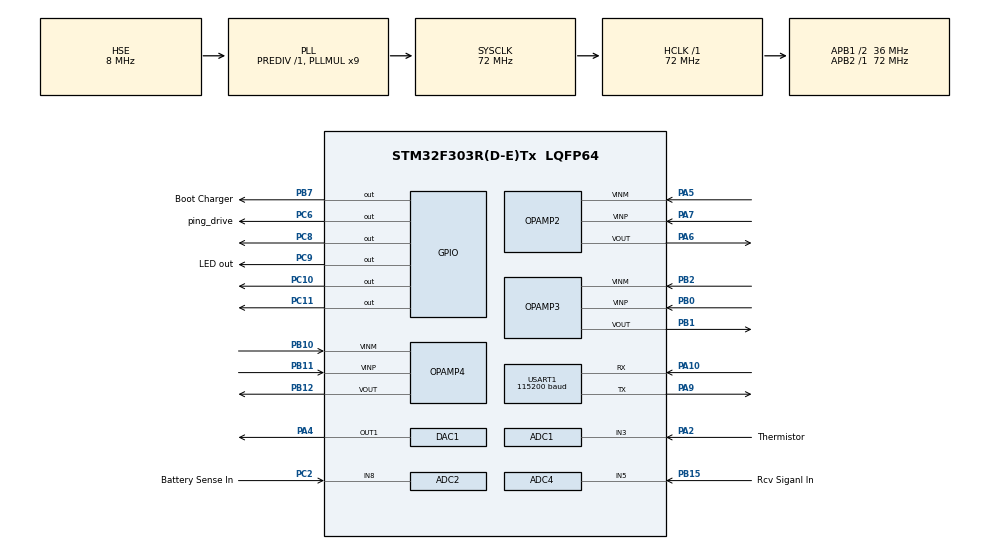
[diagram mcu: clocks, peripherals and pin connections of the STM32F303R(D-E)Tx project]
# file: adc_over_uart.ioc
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ADC1.Channel-0\#ChannelRegularConversion=ADC_CHANNEL_TEMPSENSOR
ADC1.ClockPrescaler=ADC_CLOCK_SYNC_PCLK_DIV2
ADC1.ContinuousConvMode=DISABLE
ADC1.DMAContinuousRequests=DISABLE
ADC1.DataAlign=ADC_DATAALIGN_RIGHT
ADC1.DiscontinuousConvMode=DISABLE
ADC1.EOCSelection=ADC_EOC_SINGLE_CONV
ADC1.EnableAnalogWatchDog1=false
ADC1.EnableAnalogWatchDog2=false
ADC1.EnableAnalogWatchDog3=false
ADC1.EnableInjectedConversion=ENABLE
ADC1.EnableRegularConversion=ENABLE
ADC1.ExternalTrigConv=ADC_SOFTWARE_START
ADC1.ExternalTrigConvEdge=ADC_EXTERNALTRIGCONVEDGE_NONE
ADC1.InjNumberOfConversion=0
ADC1.LowPowerAutoWait=DISABLE
ADC1.NbrOfConversion=1
ADC1.NbrOfConversionFlag=1
ADC1.Offset-0\#ChannelRegularConversion=0
ADC1.OffsetNumber-0\#ChannelRegularConversion=ADC_OFFSET_NONE
ADC1.Overrun=ADC_OVR_DATA_OVERWRITTEN
ADC1.Rank-0\#ChannelRegularConversion=1
ADC1.Resolution=ADC_RESOLUTION_12B
ADC1.SamplingTime-0\#ChannelRegularConversion=ADC_SAMPLETIME_181CYCLES_5
ADC1.ScanConvMode=ADC_SCAN_DISABLE
ADC1.master=1
ADC2.Channel-12\#ChannelRegularConversion=ADC_CHANNEL_8
ADC2.ClockPrescaler=ADC_CLOCK_SYNC_PCLK_DIV2
ADC2.ContinuousConvMode=DISABLE
ADC2.DMAContinuousRequests=DISABLE
ADC2.DataAlign=ADC_DATAALIGN_RIGHT
ADC2.DiscontinuousConvMode=DISABLE
ADC2.EOCSelection=ADC_EOC_SINGLE_CONV
ADC2.EnableAnalogWatchDog1=false
ADC2.EnableAnalogWatchDog2=false
ADC2.EnableAnalogWatchDog3=false
ADC2.EnableInjectedConversion=ENABLE
ADC2.EnableRegularConversion=ENABLE
ADC2.ExternalTrigConv=ADC_SOFTWARE_START
ADC2.ExternalTrigConvEdge=ADC_EXTERNALTRIGCONVEDGE_NONE
ADC2.InjNumberOfConversion=0
ADC2.LowPowerAutoWait=DISABLE
ADC2.NbrOfConversion=1
ADC2.NbrOfConversionFlag=1
ADC2.Offset-12\#ChannelRegularConversion=0
ADC2.OffsetNumber-12\#ChannelRegularConversion=ADC_OFFSET_NONE
ADC2.Overrun=ADC_OVR_DATA_OVERWRITTEN
ADC2.Rank-12\#ChannelRegularConversion=1
ADC2.Resolution=ADC_RESOLUTION_12B
ADC2.SamplingTime-12\#ChannelRegularConversion=ADC_SAMPLETIME_181CYCLES_5
ADC2.ScanConvMode=ADC_SCAN_DISABLE
ADC4.Channel-2\#ChannelRegularConversion=ADC_CHANNEL_5
ADC4.ClockPrescaler=ADC_CLOCK_SYNC_PCLK_DIV2
ADC4.ContinuousConvMode=DISABLE
ADC4.DMAContinuousRequests=ENABLE
ADC4.EnableRegularConversion=ENABLE
ADC4.ExternalTrigConv=ADC_EXTERNALTRIGCONV_T3_TRGO
ADC4.NbrOfConversionFlag=1
ADC4.Offset-2\#ChannelRegularConversion=0
ADC4.OffsetNumber-2\#ChannelRegularConversion=ADC_OFFSET_NONE
ADC4.Rank-2\#ChannelRegularConversion=1
ADC4.SamplingTime-2\#ChannelRegularConversion=ADC_SAMPLETIME_1CYCLE_5
ADC4.SamplingTimeOPAMP-2\#ChannelRegularConversion=ADC_SAMPLETIME_19CYCLES_5
Dma.ADC4.0.Direction=DMA_PERIPH_TO_MEMORY
Dma.ADC4.0.Instance=DMA2_Channel2
Dma.ADC4.0.MemDataAlignment=DMA_MDATAALIGN_HALFWORD
Dma.ADC4.0.MemInc=DMA_MINC_ENABLE
Dma.ADC4.0.Mode=DMA_CIRCULAR
Dma.ADC4.0.PeriphDataAlignment=DMA_PDATAALIGN_HALFWORD
Dma.ADC4.0.PeriphInc=DMA_PINC_DISABLE
Dma.ADC4.0.Priority=DMA_PRIORITY_VERY_HIGH
Dma.Request0=ADC4
Dma.Request1=TIM2_UP
Dma.TIM2_UP.1.Direction=DMA_MEMORY_TO_PERIPH
Dma.TIM2_UP.1.Instance=DMA1_Channel2
Dma.TIM2_UP.1.MemDataAlignment=DMA_MDATAALIGN_WORD
Dma.TIM2_UP.1.MemInc=DMA_MINC_ENABLE
Dma.TIM2_UP.1.Mode=DMA_CIRCULAR
Dma.TIM2_UP.1.PeriphDataAlignment=DMA_PDATAALIGN_WORD
Dma.TIM2_UP.1.PeriphInc=DMA_PINC_DISABLE
Dma.TIM2_UP.1.Priority=DMA_PRIORITY_HIGH
Mcu.Family=STM32F3
Mcu.Name=STM32F303R(D-E)Tx
Mcu.Package=LQFP64
NVIC.DMA1_Channel2_IRQn=true\:0\:0\:false\:false\:true\:false\:true\:true
NVIC.DMA2_Channel2_IRQn=true\:0\:0\:false\:false\:true\:true\:true\:true
NVIC.PriorityGroup=NVIC_PRIORITYGROUP_2
NVIC.USART1_IRQn=true\:3\:3\:true\:false\:true\:true\:true\:true
OPAMP2.PgaGain=OPAMP_PGA_GAIN_2
OPAMP3.PgaGain=OPAMP_PGA_GAIN_2
PA10.Mode=Asynchronous
PA10.Signal=USART1_RX
PA13.GPIO_Label=TMS
PA13.Signal=SYS_JTMS-SWDIO
PA14.GPIO_Label=TCK
PA14.Signal=SYS_JTCK-SWCLK
PA2.GPIO_Label=Thermistor
PA2.Mode=IN3-Single-Ended
PA2.Signal=ADC1_IN3
PA4.Signal=COMP_DAC11_group
PA5.Mode=PGA Connected
PA5.Signal=OPAMP2_VINM
PA6.Mode=PGA Connected
PA6.Signal=OPAMP2_VOUT
PA7.Mode=PGA Connected
PA7.Signal=OPAMP2_VINP
PA9.Mode=Asynchronous
PA9.Signal=USART1_TX
PB0.Mode=PGA Connected
PB0.Signal=OPAMP3_VINP
PB1.Mode=PGA Connected
PB1.Signal=OPAMP3_VOUT
PB10.Mode=Standalone
PB10.Signal=OPAMP4_VINM
PB11.Mode=Standalone
PB11.Signal=OPAMP4_VINP
PB12.Mode=Standalone
PB12.Signal=OPAMP4_VOUT
PB15.GPIO_Label=Rcv Siganl In
PB15.Mode=IN5-Single-Ended
PB15.Signal=ADC4_IN5
PB2.Mode=PGA Connected
PB2.Signal=OPAMP3_VINM
PB3.GPIO_Label=SWO
PB3.Signal=SYS_JTDO-TRACESWO
PB7.GPIO_Label=Boot Charger
PB7.Signal=GPIO_Output
PC10.Signal=GPIO_Output
PC11.Signal=GPIO_Output
PC14-OSC32_IN.Signal=RCC_OSC32_IN
PC15-OSC32_OUT.Signal=RCC_OSC32_OUT
PC2.GPIO_Label=Battery Sense In
PC2.Signal=ADCx_IN8
PC6.GPIO_Label=ping_drive
PC6.Signal=GPIO_Output
PC8.Signal=GPIO_Output
PC9.GPIO_Label=LED out
PC9.GPIO_ModeDefaultOutputPP=GPIO_MODE_OUTPUT_PP
PC9.PinState=GPIO_PIN_RESET
PC9.Signal=GPIO_Output
PF0-OSC_IN.Mode=HSE-External-Oscillator
PF0-OSC_IN.Signal=RCC_OSC_IN
PF1-OSC_OUT.Mode=HSE-External-Oscillator
PF1-OSC_OUT.Signal=RCC_OSC_OUT
ProjectManager.HeapSize=0x1200
ProjectManager.StackSize=0x1800
ProjectManager.TargetToolchain=STM32CubeIDE
RCC.ADC34PRES=RCC_ADC34PLLCLK_DIV4
RCC.AHBFreq_Value=72000000
RCC.APB1CLKDivider=RCC_HCLK_DIV2
RCC.APB1Freq_Value=36000000
RCC.APB1TimFreq_Value=72000000
RCC.APB2Freq_Value=72000000
RCC.APB2TimFreq_Value=72000000
RCC.CortexFreq_Value=72000000
RCC.HCLKFreq_Value=72000000
RCC.HSE_VALUE=8000000
RCC.HSI_VALUE=8000000
RCC.LSE_VALUE=32768
RCC.PLLM=8
RCC.PLLMUL=RCC_PLL_MUL9
RCC.PLLN=336
RCC.PLLP=RCC_PLLP_DIV4
RCC.PLLQ=7
RCC.PLLSourceVirtual=RCC_PLLSOURCE_HSE
RCC.RCC_PLLsource_Clock_Source_FROM_HSE=RCC_HSE_PREDIV_DIV2
RCC.SYSCLKFreq_VALUE=72000000
RCC.SYSCLKSourceVirtual=RCC_SYSCLKSOURCE_PLLCLK
RCC.USBFreq_Value=72000000
SH.ADCx_IN8.0=ADC2_IN8,IN8-Single-Ended
SH.COMP_DAC11_group.0=DAC1_OUT1,DAC_OUT1
TIM2.AutoReloadPreload=TIM_AUTORELOAD_PRELOAD_ENABLE
TIM2.Period=312-1
TIM2.TIM_MasterOutputTrigger=TIM_TRGO_UPDATE
TIM3.AutoReloadPreload=TIM_AUTORELOAD_PRELOAD_ENABLE
TIM3.Period=52-1
TIM3.TIM_MasterOutputTrigger=TIM_TRGO_UPDATE
TIM4.Period=648
USART1.BaudRate=115200
USART1.DMADisableonRxErrorParam=ADVFEATURE_DMA_DISABLEONRXERROR
USART1.VirtualMode-Asynchronous=VM_ASYNC
USART1.WordLength=WORDLENGTH_8B
VP_ADC1_TempSens_Input.Mode=IN-TempSens
VP_TIM2_VS_ClockSourceINT.Mode=Internal
VP_TIM3_VS_ClockSourceINT.Mode=Internal
VP_TIM4_VS_ClockSourceINT.Mode=Internal
VP_TIM8_VS_ClockSourceINT.Mode=Internal
VP_TIM8_VS_OPM.Mode=OPM_bit
board=NUCLEO-F303RE

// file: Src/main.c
/* USER CODE BEGIN Header */
/**
  ******************************************************************************
  * @file           : main.c
  * @brief          : Main program body
  ******************************************************************************
  * @attention
  *
  * Copyright (c) 2024 STMicroelectronics.
  * All rights reserved.
  *
  * This software is licensed under terms that can be found in the LICENSE file
  * in the root directory of this software component.
  * If no LICENSE file comes with this software, it is provided AS-IS.
  *
  ******************************************************************************
  */
/* USER CODE END Header */
#include "main.h"

/* USER CODE BEGIN Includes */
#include "adc_over_uart.h"
#include "pga.h"
#include "cmd_rx.h"
#include "basic_pulse_stream.h"
#include "max_peak_detector.h"
#include "peak_detector_main.h"
#include "transponder.h"
#include "tof_master.h"
#include "slow_tx.h"
#include "ping_out.h"
#include "mode.h"
#include "test.h"

/* USER CODE END Includes */

ADC_HandleTypeDef hadc1;
ADC_HandleTypeDef hadc2;
ADC_HandleTypeDef hadc4;
DMA_HandleTypeDef hdma_adc4;

DAC_HandleTypeDef hdac1;

OPAMP_HandleTypeDef hopamp2;
OPAMP_HandleTypeDef hopamp3;
OPAMP_HandleTypeDef hopamp4;

TIM_HandleTypeDef htim2;
TIM_HandleTypeDef htim3;
TIM_HandleTypeDef htim4;
TIM_HandleTypeDef htim8;
DMA_HandleTypeDef hdma_tim2_up;

UART_HandleTypeDef huart1;

void SystemClock_Config(void);
static void MX_GPIO_Init(void);
static void MX_DMA_Init(void);
static void MX_TIM3_Init(void);
static void MX_OPAMP2_Init(void);
static void MX_OPAMP3_Init(void);
static void MX_OPAMP4_Init(void);
static void MX_TIM4_Init(void);
static void MX_ADC2_Init(void);
static void MX_TIM2_Init(void);
static void MX_DAC1_Init(void);
static void MX_USART1_UART_Init(void);
static void MX_ADC1_Init(void);
static void MX_TIM8_Init(void);
static void MX_ADC4_Init(void);

int main(void)
{

  /* MCU Configuration--------------------------------------------------------*/

  /* Reset of all peripherals, Initializes the Flash interface and the Systick. */
  HAL_Init();

  /* Configure the system clock */
  SystemClock_Config();

  /* Initialize all configured peripherals */
  MX_GPIO_Init();
  MX_DMA_Init();
  MX_TIM3_Init();
  MX_OPAMP2_Init();
  MX_OPAMP3_Init();
  MX_OPAMP4_Init();
  MX_TIM4_Init();
  MX_ADC2_Init();
  MX_TIM2_Init();
  MX_DAC1_Init();
  MX_USART1_UART_Init();
  MX_ADC1_Init();
  MX_TIM8_Init();
  MX_ADC4_Init();
  /* USER CODE BEGIN 2 */

  ///////////////// begin BR magic code //////////////////////////////
  // fixup and enable the bias control op amp
    {
  	  // CubeMX does not seem to be setting the correct input for op amp 4
  	  // need to override here
  	  unsigned int csr = (unsigned int) hopamp4.Instance->CSR;
  	  unsigned int vpsel_mask = 0xC;
  	  // VP_SEL = 00 (PD11)
  	  // VP_SEL = 01 (PB11)
  	  // VP_SEL = 10 (PA4)
  	  // VP_SEL = 11 (PB13)
  	  unsigned int wanted_vpsel = 0x4;
  	  if ((csr & vpsel_mask) != wanted_vpsel)
  	  {
  		  //printf("overriding HAL VPSEL for Opamp4. Was: 0x%08x\n", csr);
  		  csr &= ~vpsel_mask;	// reset VP_SEL bits
  		  csr |= wanted_vpsel;	// VP_SEL = 01 (PB11)
  	  }
  	  //printf(" \noverriding HAL VPSEL for Opamp4. Now: 0x%08x\n", csr);
  	  hopamp4.Instance->CSR = csr;
  	  hopamp4.Instance->CSR |= 1;	// enable op amp!
  	  //printf("op amp 4 CSR = 0x%08x\n", (unsigned int) hopamp4.Instance->CSR);
    }

    // enable the PGA op amps
    {
  //	  hopamp1.Instance->CSR |= 1;	// enable op amp!
  //	  printf("op amp 1 CSR = 0x%08x\n", (unsigned int) hopamp1.Instance->CSR);
  	  hopamp2.Instance->CSR |= 1;	// enable op amp!
  	  //printf("op amp 2 CSR = 0x%08x\n", (unsigned int) hopamp2.Instance->CSR);
  	  hopamp3.Instance->CSR |= 1;	// enable op amp!
  	  //printf("op amp 3 CSR = 0x%08x\n", (unsigned int) hopamp3.Instance->CSR);
    }

    // here we disable stuff we don't want to run during debug
    // i.e. stop timer2 incrementing when we are halted in the debugger
    // the default is that everything continues to run
    {
  	  DBGMCU->APB1FZ |= 1;	// stop timer 2 (HIRES_CLK)
    }

  //////////////// end BR magic code //////////////////////////

  /* USER CODE END 2 */

  /* Infinite loop */
  while (1)
  {

    /* USER CODE BEGIN 3 */
	  #if ADC_OVER_UART_MODE

	  //pgaTestC(&hopamp3);

	  adc_over_uart(&hadc4, &htim3, &huart1, &hopamp2, &hopamp3);

	  #elif BASIC_PULSE_STREAM_MODE
	  basic_pulse_stream_init(&hdma_tim2_up, &htim2);
	  basic_pulse_stream_main();

	  #elif BASIC_PEAK_DETECTOR_MODE

    peak_detector_main(&hadc4, &htim3, &huart1, &hopamp2, &hopamp3);

	#elif TRANSPONDER_MODE
    transponder_main(&hadc4, &htim3, &huart1, &hopamp2, &hopamp3,
    				 &hdma_tim2_up, &htim2);

	#elif SLOW_TX_MODE
    slow_tx_main(&huart1, &hdma_tim2_up, &htim2);

	#elif TIME_OF_FLIGHT_MODE

    tof_master_main(&hadc4, &htim3, &huart1, &hopamp2, &hopamp3,
    				&hdma_tim2_up, &htim2);

	  #endif
  }
  /* USER CODE END 3 */
}

void SystemClock_Config(void)
{
  RCC_OscInitTypeDef RCC_OscInitStruct = {0};
  RCC_ClkInitTypeDef RCC_ClkInitStruct = {0};
  RCC_PeriphCLKInitTypeDef PeriphClkInit = {0};

  /** Initializes the RCC Oscillators according to the specified parameters
  * in the RCC_OscInitTypeDef structure.
  */
  RCC_OscInitStruct.OscillatorType = RCC_OSCILLATORTYPE_HSE;
  RCC_OscInitStruct.HSEState = RCC_HSE_ON;
  RCC_OscInitStruct.HSIState = RCC_HSI_ON;
  RCC_OscInitStruct.PLL.PLLState = RCC_PLL_ON;
  RCC_OscInitStruct.PLL.PLLSource = RCC_PLLSOURCE_HSE;
  RCC_OscInitStruct.PLL.PLLMUL = RCC_PLL_MUL9;
  RCC_OscInitStruct.PLL.PREDIV = RCC_PREDIV_DIV1;
  if (HAL_RCC_OscConfig(&RCC_OscInitStruct) != HAL_OK)
  {
    Error_Handler();
  }

  /** Initializes the CPU, AHB and APB buses clocks
  */
  RCC_ClkInitStruct.ClockType = RCC_CLOCKTYPE_HCLK|RCC_CLOCKTYPE_SYSCLK
                              |RCC_CLOCKTYPE_PCLK1|RCC_CLOCKTYPE_PCLK2;
  RCC_ClkInitStruct.SYSCLKSource = RCC_SYSCLKSOURCE_PLLCLK;
  RCC_ClkInitStruct.AHBCLKDivider = RCC_SYSCLK_DIV1;
  RCC_ClkInitStruct.APB1CLKDivider = RCC_HCLK_DIV2;
  RCC_ClkInitStruct.APB2CLKDivider = RCC_HCLK_DIV1;

  if (HAL_RCC_ClockConfig(&RCC_ClkInitStruct, FLASH_LATENCY_2) != HAL_OK)
  {
    Error_Handler();
  }
  PeriphClkInit.PeriphClockSelection = RCC_PERIPHCLK_USART1|RCC_PERIPHCLK_TIM8
                              |RCC_PERIPHCLK_TIM2|RCC_PERIPHCLK_TIM34;
  PeriphClkInit.Usart1ClockSelection = RCC_USART1CLKSOURCE_PCLK2;
  PeriphClkInit.Tim8ClockSelection = RCC_TIM8CLK_HCLK;
  PeriphClkInit.Tim2ClockSelection = RCC_TIM2CLK_HCLK;
  PeriphClkInit.Tim34ClockSelection = RCC_TIM34CLK_HCLK;
  if (HAL_RCCEx_PeriphCLKConfig(&PeriphClkInit) != HAL_OK)
  {
    Error_Handler();
  }
}

static void MX_ADC1_Init(void)
{

  ADC_MultiModeTypeDef multimode = {0};
  ADC_ChannelConfTypeDef sConfig = {0};

  /** Common config
  */
  hadc1.Instance = ADC1;
  hadc1.Init.ClockPrescaler = ADC_CLOCK_SYNC_PCLK_DIV2;
  hadc1.Init.Resolution = ADC_RESOLUTION_12B;
  hadc1.Init.ScanConvMode = ADC_SCAN_DISABLE;
  hadc1.Init.ContinuousConvMode = DISABLE;
  hadc1.Init.DiscontinuousConvMode = DISABLE;
  hadc1.Init.ExternalTrigConvEdge = ADC_EXTERNALTRIGCONVEDGE_NONE;
  hadc1.Init.ExternalTrigConv = ADC_SOFTWARE_START;
  hadc1.Init.DataAlign = ADC_DATAALIGN_RIGHT;
  hadc1.Init.NbrOfConversion = 1;
  hadc1.Init.DMAContinuousRequests = DISABLE;
  hadc1.Init.EOCSelection = ADC_EOC_SINGLE_CONV;
  hadc1.Init.LowPowerAutoWait = DISABLE;
  hadc1.Init.Overrun = ADC_OVR_DATA_OVERWRITTEN;
  if (HAL_ADC_Init(&hadc1) != HAL_OK)
  {
    Error_Handler();
  }

  /** Configure the ADC multi-mode
  */
  multimode.Mode = ADC_MODE_INDEPENDENT;
  if (HAL_ADCEx_MultiModeConfigChannel(&hadc1, &multimode) != HAL_OK)
  {
    Error_Handler();
  }

  /** Configure Regular Channel
  */
  sConfig.Channel = ADC_CHANNEL_TEMPSENSOR;
  sConfig.Rank = ADC_REGULAR_RANK_1;
  sConfig.SingleDiff = ADC_SINGLE_ENDED;
  sConfig.SamplingTime = ADC_SAMPLETIME_181CYCLES_5;
  sConfig.OffsetNumber = ADC_OFFSET_NONE;
  sConfig.Offset = 0;
  if (HAL_ADC_ConfigChannel(&hadc1, &sConfig) != HAL_OK)
  {
    Error_Handler();
  }

}

static void MX_ADC2_Init(void)
{

  ADC_ChannelConfTypeDef sConfig = {0};

  /** Common config
  */
  hadc2.Instance = ADC2;
  hadc2.Init.ClockPrescaler = ADC_CLOCK_SYNC_PCLK_DIV2;
  hadc2.Init.Resolution = ADC_RESOLUTION_12B;
  hadc2.Init.ScanConvMode = ADC_SCAN_DISABLE;
  hadc2.Init.ContinuousConvMode = DISABLE;
  hadc2.Init.DiscontinuousConvMode = DISABLE;
  hadc2.Init.ExternalTrigConvEdge = ADC_EXTERNALTRIGCONVEDGE_NONE;
  hadc2.Init.ExternalTrigConv = ADC_SOFTWARE_START;
  hadc2.Init.DataAlign = ADC_DATAALIGN_RIGHT;
  hadc2.Init.NbrOfConversion = 1;
  hadc2.Init.DMAContinuousRequests = DISABLE;
  hadc2.Init.EOCSelection = ADC_EOC_SINGLE_CONV;
  hadc2.Init.LowPowerAutoWait = DISABLE;
  hadc2.Init.Overrun = ADC_OVR_DATA_OVERWRITTEN;
  if (HAL_ADC_Init(&hadc2) != HAL_OK)
  {
    Error_Handler();
  }

  /** Configure Regular Channel
  */
  sConfig.Channel = ADC_CHANNEL_8;
  sConfig.Rank = ADC_REGULAR_RANK_1;
  sConfig.SingleDiff = ADC_SINGLE_ENDED;
  sConfig.SamplingTime = ADC_SAMPLETIME_181CYCLES_5;
  sConfig.OffsetNumber = ADC_OFFSET_NONE;
  sConfig.Offset = 0;
  if (HAL_ADC_ConfigChannel(&hadc2, &sConfig) != HAL_OK)
  {
    Error_Handler();
  }

}

static void MX_ADC4_Init(void)
{

  ADC_ChannelConfTypeDef sConfig = {0};

  /** Common config
  */
  hadc4.Instance = ADC4;
  hadc4.Init.ClockPrescaler = ADC_CLOCK_SYNC_PCLK_DIV2;
  hadc4.Init.Resolution = ADC_RESOLUTION_12B;
  hadc4.Init.ScanConvMode = ADC_SCAN_DISABLE;
  hadc4.Init.ContinuousConvMode = DISABLE;
  hadc4.Init.DiscontinuousConvMode = DISABLE;
  hadc4.Init.ExternalTrigConvEdge = ADC_EXTERNALTRIGCONVEDGE_RISING;
  hadc4.Init.ExternalTrigConv = ADC_EXTERNALTRIGCONV_T3_TRGO;
  hadc4.Init.DataAlign = ADC_DATAALIGN_RIGHT;
  hadc4.Init.NbrOfConversion = 1;
  hadc4.Init.DMAContinuousRequests = ENABLE;
  hadc4.Init.EOCSelection = ADC_EOC_SINGLE_CONV;
  hadc4.Init.LowPowerAutoWait = DISABLE;
  hadc4.Init.Overrun = ADC_OVR_DATA_OVERWRITTEN;
  if (HAL_ADC_Init(&hadc4) != HAL_OK)
  {
    Error_Handler();
  }

  /** Configure Regular Channel
  */
  sConfig.Channel = ADC_CHANNEL_5;
  sConfig.Rank = ADC_REGULAR_RANK_1;
  sConfig.SingleDiff = ADC_SINGLE_ENDED;
  sConfig.SamplingTime = ADC_SAMPLETIME_1CYCLE_5;
  sConfig.OffsetNumber = ADC_OFFSET_NONE;
  sConfig.Offset = 0;
  if (HAL_ADC_ConfigChannel(&hadc4, &sConfig) != HAL_OK)
  {
    Error_Handler();
  }

}

static void MX_DAC1_Init(void)
{

  DAC_ChannelConfTypeDef sConfig = {0};

  /** DAC Initialization
  */
  hdac1.Instance = DAC1;
  if (HAL_DAC_Init(&hdac1) != HAL_OK)
  {
    Error_Handler();
  }

  /** DAC channel OUT1 config
  */
  sConfig.DAC_Trigger = DAC_TRIGGER_NONE;
  sConfig.DAC_OutputBuffer = DAC_OUTPUTBUFFER_ENABLE;
  if (HAL_DAC_ConfigChannel(&hdac1, &sConfig, DAC_CHANNEL_1) != HAL_OK)
  {
    Error_Handler();
  }

}

static void MX_OPAMP2_Init(void)
{

  hopamp2.Instance = OPAMP2;
  hopamp2.Init.Mode = OPAMP_PGA_MODE;
  hopamp2.Init.NonInvertingInput = OPAMP_NONINVERTINGINPUT_IO0;
  hopamp2.Init.TimerControlledMuxmode = OPAMP_TIMERCONTROLLEDMUXMODE_DISABLE;
  hopamp2.Init.PgaConnect = OPAMP_PGA_CONNECT_INVERTINGINPUT_IO1;
  hopamp2.Init.PgaGain = OPAMP_PGA_GAIN_2;
  hopamp2.Init.UserTrimming = OPAMP_TRIMMING_FACTORY;
  if (HAL_OPAMP_Init(&hopamp2) != HAL_OK)
  {
    Error_Handler();
  }

}

static void MX_OPAMP3_Init(void)
{

  hopamp3.Instance = OPAMP3;
  hopamp3.Init.Mode = OPAMP_PGA_MODE;
  hopamp3.Init.NonInvertingInput = OPAMP_NONINVERTINGINPUT_IO0;
  hopamp3.Init.TimerControlledMuxmode = OPAMP_TIMERCONTROLLEDMUXMODE_DISABLE;
  hopamp3.Init.PgaConnect = OPAMP_PGA_CONNECT_INVERTINGINPUT_IO1;
  hopamp3.Init.PgaGain = OPAMP_PGA_GAIN_2;
  hopamp3.Init.UserTrimming = OPAMP_TRIMMING_FACTORY;
  if (HAL_OPAMP_Init(&hopamp3) != HAL_OK)
  {
    Error_Handler();
  }

}

static void MX_OPAMP4_Init(void)
{

  hopamp4.Instance = OPAMP4;
  hopamp4.Init.Mode = OPAMP_STANDALONE_MODE;
  hopamp4.Init.NonInvertingInput = OPAMP_NONINVERTINGINPUT_IO3;
  hopamp4.Init.InvertingInput = OPAMP_INVERTINGINPUT_IO0;
  hopamp4.Init.TimerControlledMuxmode = OPAMP_TIMERCONTROLLEDMUXMODE_DISABLE;
  hopamp4.Init.UserTrimming = OPAMP_TRIMMING_FACTORY;
  if (HAL_OPAMP_Init(&hopamp4) != HAL_OK)
  {
    Error_Handler();
  }

}

static void MX_TIM2_Init(void)
{

  TIM_ClockConfigTypeDef sClockSourceConfig = {0};
  TIM_MasterConfigTypeDef sMasterConfig = {0};

  htim2.Instance = TIM2;
  htim2.Init.Prescaler = 0;
  htim2.Init.CounterMode = TIM_COUNTERMODE_UP;
  htim2.Init.Period = 312-1;
  htim2.Init.ClockDivision = TIM_CLOCKDIVISION_DIV1;
  htim2.Init.AutoReloadPreload = TIM_AUTORELOAD_PRELOAD_ENABLE;
  if (HAL_TIM_Base_Init(&htim2) != HAL_OK)
  {
    Error_Handler();
  }
  sClockSourceConfig.ClockSource = TIM_CLOCKSOURCE_INTERNAL;
  if (HAL_TIM_ConfigClockSource(&htim2, &sClockSourceConfig) != HAL_OK)
  {
    Error_Handler();
  }
  sMasterConfig.MasterOutputTrigger = TIM_TRGO_UPDATE;
  sMasterConfig.MasterSlaveMode = TIM_MASTERSLAVEMODE_DISABLE;
  if (HAL_TIMEx_MasterConfigSynchronization(&htim2, &sMasterConfig) != HAL_OK)
  {
    Error_Handler();
  }

}

static void MX_TIM3_Init(void)
{

  TIM_ClockConfigTypeDef sClockSourceConfig = {0};
  TIM_MasterConfigTypeDef sMasterConfig = {0};

  htim3.Instance = TIM3;
  htim3.Init.Prescaler = 0;
  htim3.Init.CounterMode = TIM_COUNTERMODE_UP;
  htim3.Init.Period = 52-1;
  htim3.Init.ClockDivision = TIM_CLOCKDIVISION_DIV1;
  htim3.Init.AutoReloadPreload = TIM_AUTORELOAD_PRELOAD_ENABLE;
  if (HAL_TIM_Base_Init(&htim3) != HAL_OK)
  {
    Error_Handler();
  }
  sClockSourceConfig.ClockSource = TIM_CLOCKSOURCE_INTERNAL;
  if (HAL_TIM_ConfigClockSource(&htim3, &sClockSourceConfig) != HAL_OK)
  {
    Error_Handler();
  }
  sMasterConfig.MasterOutputTrigger = TIM_TRGO_UPDATE;
  sMasterConfig.MasterSlaveMode = TIM_MASTERSLAVEMODE_DISABLE;
  if (HAL_TIMEx_MasterConfigSynchronization(&htim3, &sMasterConfig) != HAL_OK)
  {
    Error_Handler();
  }

}

static void MX_TIM4_Init(void)
{

  TIM_ClockConfigTypeDef sClockSourceConfig = {0};
  TIM_MasterConfigTypeDef sMasterConfig = {0};

  htim4.Instance = TIM4;
  htim4.Init.Prescaler = 0;
  htim4.Init.CounterMode = TIM_COUNTERMODE_UP;
  htim4.Init.Period = 648;
  htim4.Init.ClockDivision = TIM_CLOCKDIVISION_DIV1;
  htim4.Init.AutoReloadPreload = TIM_AUTORELOAD_PRELOAD_DISABLE;
  if (HAL_TIM_Base_Init(&htim4) != HAL_OK)
  {
    Error_Handler();
  }
  sClockSourceConfig.ClockSource = TIM_CLOCKSOURCE_INTERNAL;
  if (HAL_TIM_ConfigClockSource(&htim4, &sClockSourceConfig) != HAL_OK)
  {
    Error_Handler();
  }
  sMasterConfig.MasterOutputTrigger = TIM_TRGO_RESET;
  sMasterConfig.MasterSlaveMode = TIM_MASTERSLAVEMODE_DISABLE;
  if (HAL_TIMEx_MasterConfigSynchronization(&htim4, &sMasterConfig) != HAL_OK)
  {
    Error_Handler();
  }

}

static void MX_TIM8_Init(void)
{

  TIM_ClockConfigTypeDef sClockSourceConfig = {0};
  TIM_MasterConfigTypeDef sMasterConfig = {0};

  htim8.Instance = TIM8;
  htim8.Init.Prescaler = 0;
  htim8.Init.CounterMode = TIM_COUNTERMODE_UP;
  htim8.Init.Period = 65535;
  htim8.Init.ClockDivision = TIM_CLOCKDIVISION_DIV1;
  htim8.Init.RepetitionCounter = 0;
  htim8.Init.AutoReloadPreload = TIM_AUTORELOAD_PRELOAD_DISABLE;
  if (HAL_TIM_Base_Init(&htim8) != HAL_OK)
  {
    Error_Handler();
  }
  sClockSourceConfig.ClockSource = TIM_CLOCKSOURCE_INTERNAL;
  if (HAL_TIM_ConfigClockSource(&htim8, &sClockSourceConfig) != HAL_OK)
  {
    Error_Handler();
  }
  if (HAL_TIM_OnePulse_Init(&htim8, TIM_OPMODE_SINGLE) != HAL_OK)
  {
    Error_Handler();
  }
  sMasterConfig.MasterOutputTrigger = TIM_TRGO_RESET;
  sMasterConfig.MasterOutputTrigger2 = TIM_TRGO2_RESET;
  sMasterConfig.MasterSlaveMode = TIM_MASTERSLAVEMODE_DISABLE;
  if (HAL_TIMEx_MasterConfigSynchronization(&htim8, &sMasterConfig) != HAL_OK)
  {
    Error_Handler();
  }

}

static void MX_USART1_UART_Init(void)
{

  huart1.Instance = USART1;
  huart1.Init.BaudRate = 115200;
  huart1.Init.WordLength = UART_WORDLENGTH_8B;
  huart1.Init.StopBits = UART_STOPBITS_1;
  huart1.Init.Parity = UART_PARITY_NONE;
  huart1.Init.Mode = UART_MODE_TX_RX;
  huart1.Init.HwFlowCtl = UART_HWCONTROL_NONE;
  huart1.Init.OverSampling = UART_OVERSAMPLING_16;
  huart1.Init.OneBitSampling = UART_ONE_BIT_SAMPLE_DISABLE;
  huart1.AdvancedInit.AdvFeatureInit = UART_ADVFEATURE_DMADISABLEONERROR_INIT;
  huart1.AdvancedInit.DMADisableonRxError = UART_ADVFEATURE_DMA_DISABLEONRXERROR;
  if (HAL_UART_Init(&huart1) != HAL_OK)
  {
    Error_Handler();
  }

}

static void MX_DMA_Init(void)
{

  /* DMA controller clock enable */
  __HAL_RCC_DMA2_CLK_ENABLE();
  __HAL_RCC_DMA1_CLK_ENABLE();

  /* DMA interrupt init */
  /* DMA1_Channel2_IRQn interrupt configuration */
  HAL_NVIC_SetPriority(DMA1_Channel2_IRQn, 0, 0);
  HAL_NVIC_EnableIRQ(DMA1_Channel2_IRQn);
  /* DMA2_Channel2_IRQn interrupt configuration */
  HAL_NVIC_SetPriority(DMA2_Channel2_IRQn, 0, 0);
  HAL_NVIC_EnableIRQ(DMA2_Channel2_IRQn);

}

static void MX_GPIO_Init(void)
{
  GPIO_InitTypeDef GPIO_InitStruct = {0};

  /* GPIO Ports Clock Enable */
  __HAL_RCC_GPIOC_CLK_ENABLE();
  __HAL_RCC_GPIOF_CLK_ENABLE();
  __HAL_RCC_GPIOA_CLK_ENABLE();
  __HAL_RCC_GPIOB_CLK_ENABLE();
  __HAL_RCC_GPIOD_CLK_ENABLE();

  /*Configure GPIO pin Output Level */
  HAL_GPIO_WritePin(GPIOC, ping_drive_Pin|GPIO_PIN_8|LED_out_Pin|GPIO_PIN_10
                          |GPIO_PIN_11, GPIO_PIN_RESET);

  /*Configure GPIO pin Output Level */
  HAL_GPIO_WritePin(Boot_Charger_GPIO_Port, Boot_Charger_Pin, GPIO_PIN_RESET);

  /*Configure GPIO pins : PC13 PC0 PC1 PC3
                           PC4 PC5 PC7 PC12 */
  GPIO_InitStruct.Pin = GPIO_PIN_13|GPIO_PIN_0|GPIO_PIN_1|GPIO_PIN_3
                          |GPIO_PIN_4|GPIO_PIN_5|GPIO_PIN_7|GPIO_PIN_12;
  GPIO_InitStruct.Mode = GPIO_MODE_ANALOG;
  GPIO_InitStruct.Pull = GPIO_NOPULL;
  HAL_GPIO_Init(GPIOC, &GPIO_InitStruct);

  /*Configure GPIO pins : PA0 PA1 PA3 PA8
                           PA11 PA12 PA15 */
  GPIO_InitStruct.Pin = GPIO_PIN_0|GPIO_PIN_1|GPIO_PIN_3|GPIO_PIN_8
                          |GPIO_PIN_11|GPIO_PIN_12|GPIO_PIN_15;
  GPIO_InitStruct.Mode = GPIO_MODE_ANALOG;
  GPIO_InitStruct.Pull = GPIO_NOPULL;
  HAL_GPIO_Init(GPIOA, &GPIO_InitStruct);

  /*Configure GPIO pins : PB13 PB14 PB4 PB5
                           PB6 PB8 PB9 */
  GPIO_InitStruct.Pin = GPIO_PIN_13|GPIO_PIN_14|GPIO_PIN_4|GPIO_PIN_5
                          |GPIO_PIN_6|GPIO_PIN_8|GPIO_PIN_9;
  GPIO_InitStruct.Mode = GPIO_MODE_ANALOG;
  GPIO_InitStruct.Pull = GPIO_NOPULL;
  HAL_GPIO_Init(GPIOB, &GPIO_InitStruct);

  /*Configure GPIO pins : ping_drive_Pin PC8 LED_out_Pin PC10
                           PC11 */
  GPIO_InitStruct.Pin = ping_drive_Pin|GPIO_PIN_8|LED_out_Pin|GPIO_PIN_10
                          |GPIO_PIN_11;
  GPIO_InitStruct.Mode = GPIO_MODE_OUTPUT_PP;
  GPIO_InitStruct.Pull = GPIO_NOPULL;
  GPIO_InitStruct.Speed = GPIO_SPEED_FREQ_LOW;
  HAL_GPIO_Init(GPIOC, &GPIO_InitStruct);

  /*Configure GPIO pin : PD2 */
  GPIO_InitStruct.Pin = GPIO_PIN_2;
  GPIO_InitStruct.Mode = GPIO_MODE_ANALOG;
  GPIO_InitStruct.Pull = GPIO_NOPULL;
  HAL_GPIO_Init(GPIOD, &GPIO_InitStruct);

  /*Configure GPIO pin : Boot_Charger_Pin */
  GPIO_InitStruct.Pin = Boot_Charger_Pin;
  GPIO_InitStruct.Mode = GPIO_MODE_OUTPUT_PP;
  GPIO_InitStruct.Pull = GPIO_NOPULL;
  GPIO_InitStruct.Speed = GPIO_SPEED_FREQ_LOW;
  HAL_GPIO_Init(Boot_Charger_GPIO_Port, &GPIO_InitStruct);

}

/* USER CODE BEGIN 4 */

//Called when first half of buffer is filled
//void HAL_ADC_ConvHalfCpltCallback(ADC_HandleTypeDef* hadc) {
//	buffer_full_flag = 1;
//}

//Called when buffer is completely filled
//void HAL_ADC_ConvCpltCallback(ADC_HandleTypeDef* hadc) {
//	buffer_full_flag = 1;
//}

/* USER CODE END 4 */

void Error_Handler(void)
{
  __disable_irq();
  while (1)
  {
  }
}
